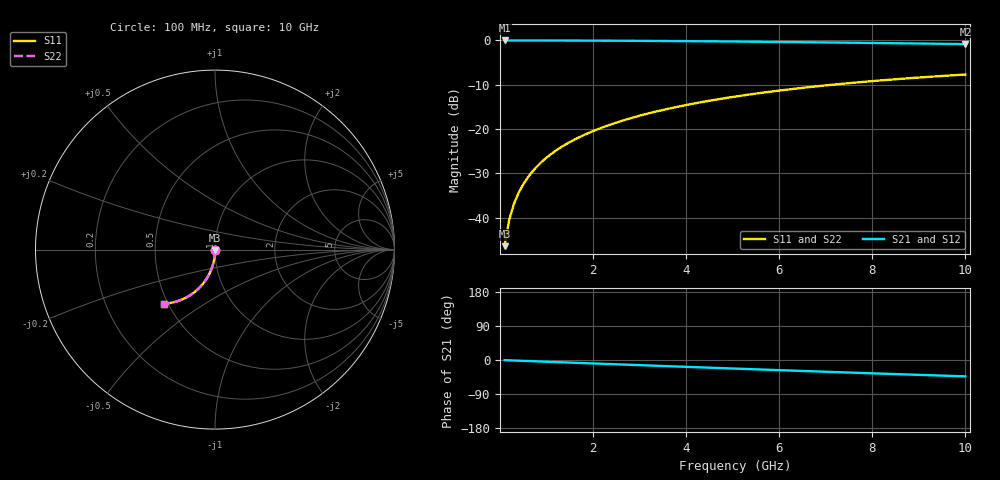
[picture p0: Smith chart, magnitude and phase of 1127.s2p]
# Hz S RI R 50.00
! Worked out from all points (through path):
!   100 points, 100 MHz to 10 GHz, reference 50 ohm
!   highest |S21| = 0.00 dB at 100 MHz (marker M1); lowest = -0.8 dB at 10 GHz (marker M2)
!   group delay of S21, straight-line fit = 12.1 ps
!   lowest |S11| = -46.4 dB at 100 MHz (marker M3), VSWR 1.01, Z = 50 - j0.478 ohm
!   |S11| at or under -10 dB: start of sweep to 7.132 GHz
!   |S22| runs from -46.4 to -7.7 dB; largest |S21 - S12| = 0
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1e8  0.000394 -0.00478  0.9995 -0.00791  0.9995 -0.00791  0.000394 -0.00478
2e8  0.000277 -0.00956  0.9994 -0.0158  0.9994 -0.0158  0.000277 -0.00956
3e8  8.42e-05 -0.0143  0.9992 -0.0237  0.9992 -0.0237  8.42e-05 -0.0143
4e8  -0.000185 -0.0191  0.9988 -0.0316  0.9988 -0.0316  -0.000185 -0.0191
5e8  -0.000529 -0.0239  0.9985 -0.0395  0.9985 -0.0395  -0.000529 -0.0239
6e8  -0.000949 -0.0286  0.998 -0.0474  0.998 -0.0474  -0.000949 -0.0286
7e8  -0.00144 -0.0334  0.9974 -0.0553  0.9974 -0.0553  -0.00144 -0.0334
8e8  -0.00202 -0.0381  0.9968 -0.0632  0.9968 -0.0632  -0.00202 -0.0381
9e8  -0.00266 -0.0429  0.996 -0.0711  0.996 -0.0711  -0.00266 -0.0429
1.1e9  -0.00418 -0.0523  0.9943 -0.0868  0.9943 -0.0868  -0.00418 -0.0523
1.4e9  -0.00701 -0.0664  0.9911 -0.1102  0.9911 -0.1102  -0.00701 -0.0664
1.8e9  -0.0118 -0.0848  0.9857 -0.1413  0.9857 -0.1413  -0.0118 -0.0848
2.1e9  -0.0162 -0.0985  0.9807 -0.1643  0.9807 -0.1643  -0.0162 -0.0985
2.5e9  -0.0229 -0.1162  0.973 -0.1947  0.973 -0.1947  -0.0229 -0.1162
2.9e9  -0.0308 -0.1335  0.9641 -0.2246  0.9641 -0.2246  -0.0308 -0.1335
3.4e9  -0.0421 -0.1543  0.9512 -0.2612  0.9512 -0.2612  -0.0421 -0.1543
4.2e9  -0.0633 -0.1853  0.927 -0.3177  0.927 -0.3177  -0.0633 -0.1853
5.1e9  -0.0911 -0.2164  0.8948 -0.3775  0.8948 -0.3775  -0.0911 -0.2164
5.9e9  -0.1188 -0.2403  0.8626 -0.4271  0.8626 -0.4271  -0.1188 -0.2403
6.7e9  -0.1487 -0.2603  0.8274 -0.4731  0.8274 -0.4731  -0.1487 -0.2603
8.4e9  -0.2167 -0.2896  0.7455 -0.5581  0.7455 -0.5581  -0.2167 -0.2896
1e10  -0.2826 -0.3009  0.6631 -0.6228  0.6631 -0.6228  -0.2826 -0.3009
